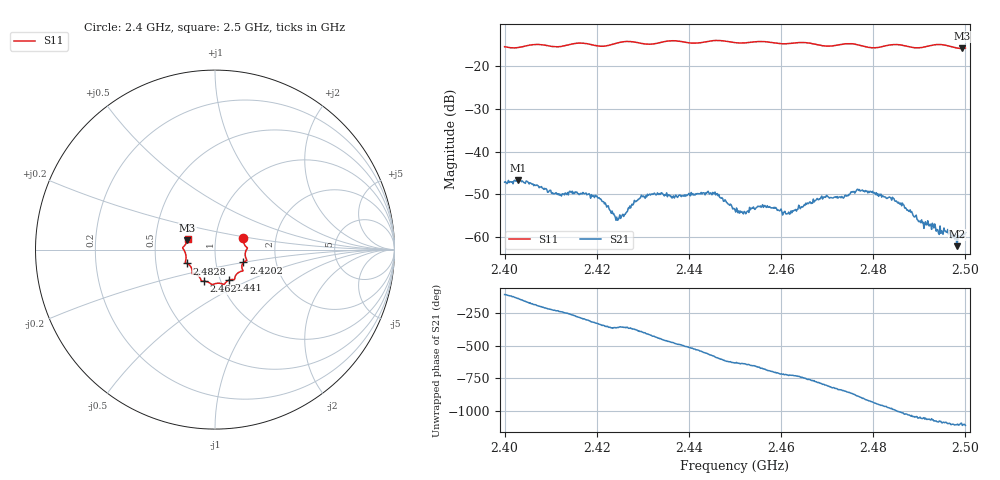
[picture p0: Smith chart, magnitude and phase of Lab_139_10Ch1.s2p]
# Hz S RI R 50
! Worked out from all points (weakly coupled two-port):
!   601 points, 2.4 GHz to 2.5 GHz, reference 50 ohm
!   highest |S21| = -46.64 dB at 2.403 GHz (marker M1); lowest = -62.1 dB at 2.4982 GHz (marker M2)
!   lowest |S11| = -15.8 dB at 2.4993 GHz (marker M3), VSWR 1.39, Z = 36.5 + j3.84 ohm
!   |S11| at or under -10 dB: start of sweep to end of sweep
!   S12 and S22 are empty: the file has one direction only
!   S11 on the Smith chart (normalised r, x): 2.4 GHz: 1.36, +0.18; 2.4202 GHz: 1.36, -0.20; 2.441 GHz: 1.10, -0.39; 2.462 GHz: 0.84, -0.30; 2.4828 GHz: 0.72, -0.11; 2.5 GHz: 0.73, +0.09
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2.4e9  0.1581 0.0627  -0.00109 -0.00426  0 0  0 0
2.403e9  0.1642 0.0284  -0.00328 -0.0033  0 0  0 0
2.411833e9  0.1682 -0.0263  -0.00183 0.00264  0 0  0 0
2.416667e9  0.1776 -0.0606  0.000969 0.00309  0 0  0 0
2.420167e9  0.1584 -0.0714  0.00247 0.00152  0 0  0 0
2.424667e9  0.1532 -0.1114  0.0016 2.59e-05  0 0  0 0
2.429667e9  0.1399 -0.123  0.00272 -0.00149  0 0  0 0
2.433333e9  0.112 -0.1508  0.000481 -0.00315  0 0  0 0
2.441e9  0.0784 -0.1698  -0.00298 -0.000909  0 0  0 0
2.445667e9  0.0512 -0.1944  -0.0024 0.00236  0 0  0 0
2.45e9  0.0285 -0.1879  6.39e-05 0.00206  0 0  0 0
2.452167e9  0.00655 -0.1885  0.00026 0.00194  0 0  0 0
2.4565e9  -0.0179 -0.1941  0.0018 0.0015  0 0  0 0
2.462e9  -0.0601 -0.1757  0.00187 -0.000186  0 0  0 0
2.466667e9  -0.0787 -0.1681  0.00169 -0.00184  0 0  0 0
2.476833e9  -0.127 -0.1256  -0.00346 -0.000646  0 0  0 0
2.482833e9  -0.1573 -0.0769  -0.00114 0.00261  0 0  0 0
2.483333e9  -0.1603 -0.0754  -0.000687 0.00284  0 0  0 0
2.4905e9  -0.1654 -0.0174  0.00149 0.000573  0 0  0 0
2.498167e9  -0.1602 0.0358  0.000696 -0.000356  0 0  0 0
2.499333e9  -0.154 0.0513  0.000814 -0.000533  0 0  0 0
2.5e9  -0.1522 0.0609  0.000943 -0.000615  0 0  0 0
